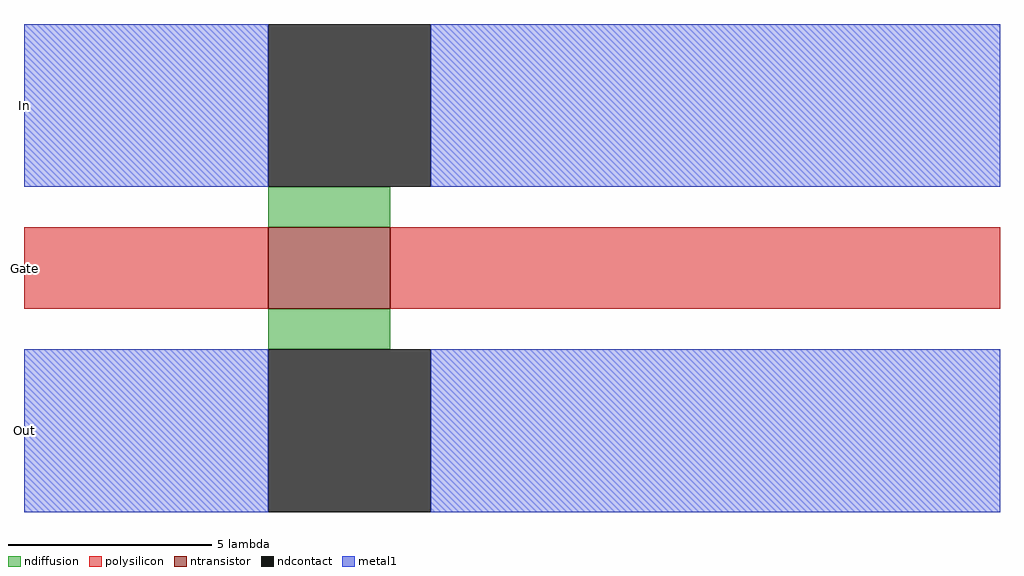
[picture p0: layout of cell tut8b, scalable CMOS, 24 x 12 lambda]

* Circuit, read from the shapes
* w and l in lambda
.subckt tut8b Gate In Out
M1 In Gate Out VSUBS nfet w=3 l=2
.ends

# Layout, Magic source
magic
tech scmos
<< polysilicon >>
rect -6 5 0 7
rect 3 5 10 7
<< ndiffusion >>
rect 0 7 3 8
rect 0 4 3 5
<< metal1 >>
rect -6 8 0 12
rect 4 8 10 12
rect -6 0 0 4
rect 4 0 10 4
<< ndcontact >>
rect 0 8 4 12
rect 0 0 4 4
<< ntransistor >>
rect 0 5 3 7
use tut8d tut8d_0
transform 1 0 0 0 1 3
box 10 -3 18 9
<< labels >>
rlabel metal1 -6 0 -6 4 3 Out
rlabel metal1 -6 8 -6 12 3 In
rlabel polysilicon -6 5 -6 7 3 Gate
<< end >>

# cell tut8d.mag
magic
tech scmos
<< polysilicon >>
rect 10 2 18 4
<< metal1 >>
rect 10 5 18 9
rect 10 -3 18 1
<< end >>
